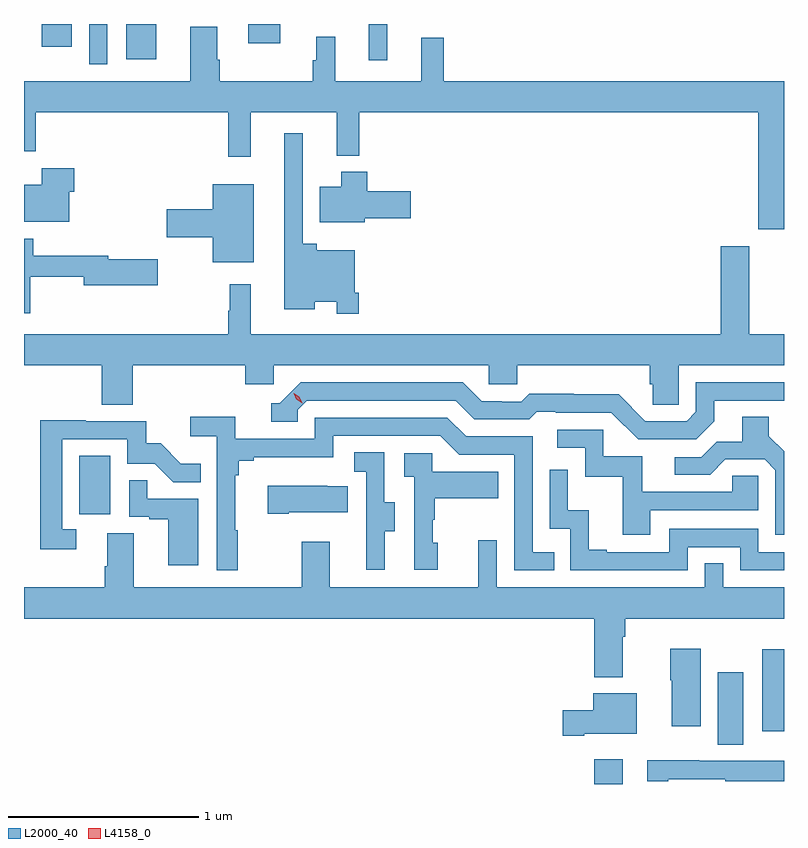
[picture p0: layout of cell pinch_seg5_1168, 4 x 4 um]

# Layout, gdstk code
import gdstk
lib = gdstk.Library(unit=1e-6, precision=1e-09)
def R(c, l, rs):  # rectangles x0, y0, x1, y1
    for r in rs: c.add(gdstk.rectangle(r[:2], r[2:], *l))
def P(c, l, *ps):  # polygons
    for p in ps: c.add(gdstk.Polygon(p, *l))
L2000_40 = (2000, 40)
L4158_0 = (4158, 0)

pinch_seg5_1168 = lib.new_cell('pinch_seg5_1168')
R(pinch_seg5_1168, L2000_40, [(858.893,842.569,859.045,842.698), (859.544,842.776,859.678,843.157), (859.778,842.847,859.893,843.277), (856.184,843.99,856.348,844.297), (856.236,846.357,856.332,846.569), (857.708,846.378,857.805,846.569), (856.43,846.384,856.588,846.569), (855.986,846.45,856.144,846.569), (857.073,846.468,857.241,846.569)])
P(pinch_seg5_1168, L2000_40, [(858.101,846.496),(857.984,846.496),(857.984,846.268),(857.531,846.268),(857.531,846.502),(857.432,846.502),(857.432,846.377),(857.413,846.377),(857.413,846.268),(856.922,846.268),(856.922,846.38),(856.909,846.38),(856.909,846.554),(856.769,846.554),(856.769,846.268),(855.893,846.268),(855.893,845.898),(855.956,845.898),(855.956,846.104),(856.969,846.104),(856.969,845.871),(857.087,845.871),(857.087,846.104),(857.54,846.104),(857.54,845.876),(857.657,845.876),(857.657,846.104),(859.757,846.104),(859.757,845.49),(859.893,845.49),(859.893,846.268),(858.101,846.268)],
  [(857.654,845.155),(857.634,845.155),(857.634,845.377),(857.435,845.377),(857.435,845.413),(857.361,845.413),(857.361,845.995),(857.264,845.995),(857.264,845.069),(857.422,845.069),(857.422,845.108),(857.538,845.108),(857.538,845.043),(857.654,845.043)],
  [(856.132,845.685),(856.157,845.685),(856.157,845.811),(855.986,845.811),(855.986,845.722),(855.893,845.722),(855.893,845.528),(856.132,845.528)],
  [(857.686,845.546),(857.929,845.546),(857.929,845.688),(857.699,845.688),(857.699,845.791),(857.564,845.791),(857.564,845.713),(857.45,845.713),(857.45,845.525),(857.686,845.525)],
  [(857.101,845.725),(856.886,845.725),(856.886,845.594),(856.644,845.594),(856.644,845.447),(856.886,845.447),(856.886,845.315),(857.101,845.315)],
  [(855.926,845.238),(856.208,845.238),(856.208,845.195),(856.597,845.195),(856.597,845.33),(856.336,845.33),(856.336,845.348),(855.941,845.348),(855.941,845.439),(855.893,845.439),(855.893,845.046),(855.926,845.046)],
  [(856.466,844.772),(857.057,844.772),(857.057,844.674),(857.208,844.674),(857.208,844.772),(858.339,844.772),(858.339,844.674),(858.489,844.674),(858.489,844.772),(859.187,844.772),(859.187,844.674),(859.201,844.674),(859.201,844.564),(859.338,844.564),(859.338,844.772),(859.893,844.772),(859.893,844.936),(859.711,844.936),(859.711,845.398),(859.559,845.398),(859.559,844.936),(857.086,844.936),(857.086,845.2),(856.977,845.2),(856.977,845.06),(856.969,845.06),(856.969,844.936),(855.893,844.936),(855.893,844.772),(856.301,844.772),(856.301,844.564),(856.466,844.564)],
  [(859.525,844.477),(859.525,844.587),(859.893,844.587),(859.893,844.683),(859.428,844.683),(859.428,844.527),(859.38,844.479),(859.164,844.479),(859.022,844.621),(858.786,844.621),(858.786,844.624),(858.553,844.624),(858.511,844.581),(858.408,844.581),(858.408,844.584),(858.301,844.584),(858.202,844.683),(857.349,844.683),(857.238,844.572),(857.195,844.572),(857.195,844.476),(857.334,844.476),(857.334,844.539),(857.382,844.587),(858.165,844.587),(858.264,844.488),(858.553,844.488),(858.592,844.527),(858.691,844.527),(858.691,844.524),(858.984,844.524),(859.125,844.383),(859.431,844.383)],
  [(857.017,843.905),(857.005,843.905),(857.005,844.193),(857.024,844.193),(857.024,844.27),(857.101,844.27),(857.101,844.289),(857.52,844.289),(857.52,844.401),(858.084,844.401),(858.183,844.302),(858.474,844.302),(858.474,843.693),(858.683,843.693),(858.683,843.789),(858.57,843.789),(858.57,844.398),(858.22,844.398),(858.121,844.497),(857.424,844.497),(857.424,844.386),(857.006,844.386),(857.006,844.502),(856.767,844.502),(856.767,844.4),(856.908,844.4),(856.908,843.693),(857.017,843.693)],
  [(859.893,844.32),(859.813,844.4),(859.813,844.502),(859.673,844.502),(859.673,844.37),(859.538,844.37),(859.458,844.29),(859.317,844.29),(859.317,844.197),(859.504,844.197),(859.585,844.278),(859.791,844.278),(859.848,844.221),(859.848,843.882),(859.893,843.882)],
  [(856.168,843.909),(856.095,843.909),(856.095,844.383),(856.437,844.383),(856.437,844.254),(856.581,844.254),(856.679,844.156),(856.823,844.156),(856.823,844.255),(856.719,844.255),(856.612,844.362),(856.536,844.362),(856.536,844.479),(856.217,844.479),(856.217,844.484),(855.979,844.484),(855.979,843.804),(856.168,843.804)],
  [(859.189,844.011),(859.758,844.011),(859.758,844.191),(859.621,844.191),(859.621,844.107),(859.147,844.107),(859.147,844.293),(858.942,844.293),(858.942,844.434),(858.699,844.434),(858.699,844.338),(858.846,844.338),(858.846,844.185),(859.045,844.185),(859.045,843.882),(859.189,843.882)],
  [(857.791,843.898),(857.845,843.898),(857.845,844.053),(857.79,844.053),(857.79,844.316),(857.631,844.316),(857.631,844.213),(857.694,844.213),(857.694,843.909),(857.693,843.909),(857.693,843.696),(857.791,843.696)],
  [(858.07,843.84),(858.045,843.84),(858.045,843.959),(858.055,843.959),(858.055,844.073),(858.389,844.073),(858.389,844.213),(858.042,844.213),(858.042,844.311),(857.895,844.311),(857.895,844.187),(857.946,844.187),(857.946,843.696),(858.07,843.696)],
  [(859.386,843.816),(859.662,843.816),(859.662,843.693),(859.893,843.693),(859.893,843.789),(859.758,843.789),(859.758,843.912),(859.29,843.912),(859.29,843.789),(858.961,843.789),(858.961,843.802),(858.866,843.802),(858.866,844.01),(858.756,844.01),(858.756,844.222),(858.66,844.222),(858.66,843.912),(858.768,843.912),(858.768,843.693),(859.386,843.693)],
  [(856.81,844.071),(856.541,844.071),(856.541,844.169),(856.446,844.169),(856.446,843.975),(856.553,843.975),(856.553,843.963),(856.652,843.963),(856.652,843.72),(856.81,843.72)],
  [(857.287,843.998),(857.597,843.998),(857.597,844.135),(857.489,844.135),(857.489,844.138),(857.175,844.138),(857.175,843.991),(857.287,843.991)],
  [(859.045,843.344),(859.058,843.344),(859.058,843.44),(859.893,843.44),(859.893,843.604),(859.572,843.604),(859.572,843.731),(859.476,843.731),(859.476,843.604),(858.381,843.604),(858.381,843.853),(858.284,843.853),(858.284,843.604),(857.503,843.604),(857.503,843.844),(857.356,843.844),(857.356,843.604),(856.471,843.604),(856.471,843.89),(856.331,843.89),(856.331,843.716),(856.319,843.716),(856.319,843.604),(855.893,843.604),(855.893,843.44),(858.893,843.44),(858.893,843.131),(859.045,843.131)],
  [(859.456,843.28),(859.295,843.28),(859.295,843.114),(859.301,843.114),(859.301,842.874),(859.456,842.874)],
  [(858.841,842.834),(859.117,842.834),(859.117,843.046),(858.89,843.046),(858.89,842.956),(858.729,842.956),(858.729,842.822),(858.841,842.822)],
  [(859.285,842.593),(859.585,842.593),(859.585,842.583),(859.893,842.583),(859.893,842.692),(859.782,842.692),(859.782,842.691),(859.448,842.691),(859.448,842.693),(859.173,842.693),(859.173,842.583),(859.285,842.583)])
P(pinch_seg5_1168, L4158_0, [(857.357,844.572),(857.327,844.593),(857.312,844.626),(857.312,844.626),(857.312,844.626),(857.342,844.606),(857.357,844.572),(857.357,844.572)])

lib.write_gds('pinch_seg5_1168.gds')
